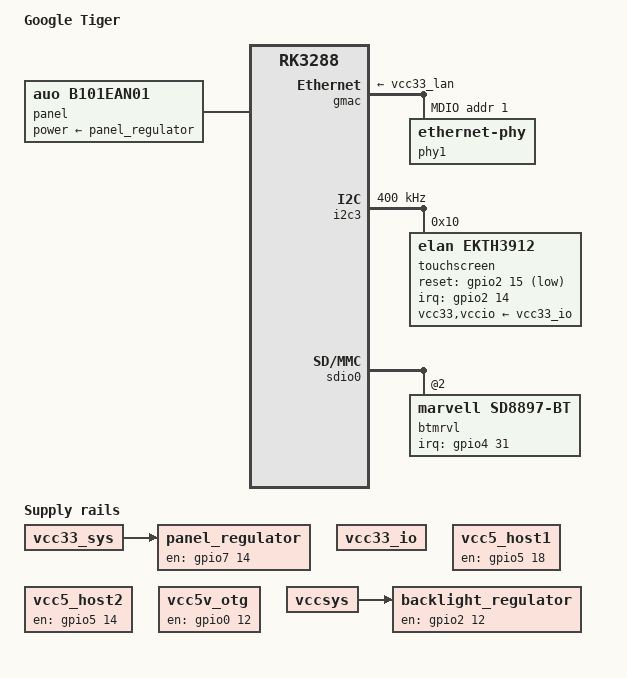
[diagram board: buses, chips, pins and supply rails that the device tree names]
/*
 * Google Veyron Tiger Rev 0+ board device tree source
 *
 * Copyright 2016 Google, Inc
 *
 * This program is free software; you can redistribute it and/or modify
 * it under the terms of the GNU General Public License version 2 as
 * published by the Free Software Foundation.
 */

/dts-v1/;
#include "rk3288-veyron.dtsi"
#include "rk3288-veyron-analog-audio.dtsi"
#include "rk3288-veyron-edp.dtsi"
#include "rk3288-veyron-ethernet.dtsi"
#include "rk3288-veyron-lpddr.dtsi"

/ {
	model = "Google Tiger";
	compatible = "google,veyron-tiger-rev8", "google,veyron-tiger-rev7",
		     "google,veyron-tiger-rev6", "google,veyron-tiger-rev5",
		     "google,veyron-tiger-rev4", "google,veyron-tiger-rev3",
		     "google,veyron-tiger-rev2", "google,veyron-tiger-rev1",
		     "google,veyron-tiger-rev0", "google,veyron-tiger",
		     "google,veyron", "rockchip,rk3288";

	backlight_regulator: backlight-regulator {
		compatible = "regulator-fixed";
		enable-active-high;
		gpio = <&gpio2 12 GPIO_ACTIVE_HIGH>;
		pinctrl-names = "default";
		pinctrl-0 = <&bl_pwr_en>;
		regulator-name = "backlight_regulator";
		vin-supply = <&vccsys>;
		startup-delay-us = <15000>;
	};

	panel_regulator: panel-regulator {
		compatible = "regulator-fixed";
		enable-active-high;
		gpio = <&gpio7 14 GPIO_ACTIVE_HIGH>;
		pinctrl-names = "default";
		pinctrl-0 = <&lcd_enable_h>;
		regulator-name = "panel_regulator";
		vin-supply = <&vcc33_sys>;
	};

	/* vcc33_pmuio and vcc33_io is sourced directly from vcc33_sys,
	 * enabled by vcc_18 */
	vcc33_io: vcc33-io {
		compatible = "regulator-fixed";
		regulator-always-on;
		regulator-boot-on;
		regulator-name = "vcc33_io";
	};

	vcc5_host1: vcc5-host1-regulator {
		compatible = "regulator-fixed";
		enable-active-high;
		gpio = <&gpio5 18 GPIO_ACTIVE_HIGH>;
		pinctrl-names = "default";
		pinctrl-0 = <&hub_usb1_pwr_en>;
		regulator-name = "vcc5_host1";
		regulator-always-on;
		regulator-boot-on;
	};

	vcc5_host2: vcc5-host2-regulator {
		compatible = "regulator-fixed";
		enable-active-high;
		gpio = <&gpio5 14 GPIO_ACTIVE_HIGH>;
		pinctrl-names = "default";
		pinctrl-0 = <&hub_usb2_pwr_en>;
		regulator-name = "vcc5_host2";
		regulator-always-on;
		regulator-boot-on;
	};

	vcc5v_otg: vcc5v-otg-regulator {
		compatible = "regulator-fixed";
		enable-active-high;
		gpio = <&gpio0 12 GPIO_ACTIVE_HIGH>;
		pinctrl-names = "default";
		pinctrl-0 = <&usb_otg_pwr_en>;
		regulator-name = "vcc5_otg";
		regulator-always-on;
		regulator-boot-on;
	};

	vccsys: vccsys {
		compatible = "regulator-fixed";
		regulator-name = "vccsys";
		regulator-boot-on;
		regulator-always-on;
	};
};

&backlight {
	/* Tiger panel PWM must be >= 1%, so start non-zero brightness at 3 */
	brightness-levels = <
			  0   3   4   5   6   7
			  8   9  10  11  12  13  14  15
			 16  17  18  19  20  21  22  23
			 24  25  26  27  28  29  30  31
			 32  33  34  35  36  37  38  39
			 40  41  42  43  44  45  46  47
			 48  49  50  51  52  53  54  55
			 56  57  58  59  60  61  62  63
			 64  65  66  67  68  69  70  71
			 72  73  74  75  76  77  78  79
			 80  81  82  83  84  85  86  87
			 88  89  90  91  92  93  94  95
			 96  97  98  99 100 101 102 103
			104 105 106 107 108 109 110 111
			112 113 114 115 116 117 118 119
			120 121 122 123 124 125 126 127
			128 129 130 131 132 133 134 135
			136 137 138 139 140 141 142 143
			144 145 146 147 148 149 150 151
			152 153 154 155 156 157 158 159
			160 161 162 163 164 165 166 167
			168 169 170 171 172 173 174 175
			176 177 178 179 180 181 182 183
			184 185 186 187 188 189 190 191
			192 193 194 195 196 197 198 199
			200 201 202 203 204 205 206 207
			208 209 210 211 212 213 214 215
			216 217 218 219 220 221 222 223
			224 225 226 227 228 229 230 231
			232 233 234 235 236 237 238 239
			240 241 242 243 244 245 246 247
			248 249 250 251 252 253 254 255>;
	power-supply = <&backlight_regulator>;
};

&dmc {
	status = "disabled";
};

&edp {
	pinctrl-names = "default";
	pinctrl-0 = <&edp_hpd>;
};

&gmac {
	phy-supply = <&vcc33_lan>;
	wakeup-source;
	mdio0 {
		#address-cells = <1>;
		#size-cells = <0>;
		compatible = "snps,dwmac-mdio";
		phy1: ethernet-phy@1 {
			reg = <1>;
			enable-phy-ssc;
		};
	};
};

&gpio_keys {
	pinctrl-0 = <&pwr_key_l>;

	/* let btmrvl handle bt wake */
	/delete-node/ bt-wake;
};

&i2c3 {
	status = "okay";

	clock-frequency = <400000>;
	i2c-scl-falling-time-ns = <50>;
	i2c-scl-rising-time-ns = <300>;

	touchscreen@10 {
		compatible = "elan,ekth3912", "elan,ekth3500";
		reg = <0x10>;
		pinctrl-names = "default";
		pinctrl-0 = <&touch_int &touch_rst>;
		interrupt-parent = <&gpio2>;
		interrupts = <14 IRQ_TYPE_EDGE_FALLING>;
		reset-gpios = <&gpio2 15 GPIO_ACTIVE_LOW>;
		vcc33-supply = <&vcc33_io>;
		vccio-supply = <&vcc33_io>;
		wakeup-source;
	};
};

&panel {
	compatible = "auo,b101ean01", "simple-panel";
	power-supply= <&panel_regulator>;
};

&rk808 {
	pinctrl-names = "default";
	pinctrl-0 = <&pmic_int_l &dvs_1 &dvs_2>;
	dvs-gpios = <&gpio7 12 GPIO_ACTIVE_HIGH>,
		    <&gpio7 15 GPIO_ACTIVE_HIGH>;

	vcc6-supply = <&vcc33_sys>;
	vcc10-supply = <&vcc33_sys>;
	vcc11-supply = <&vcc_5v>;
	vcc12-supply = <&vcc33_sys>;

	regulators {
		/delete-node/ LDO_REG1;

		vcc18_lcdt: LDO_REG2 {
			regulator-always-on;
			regulator-boot-on;
			regulator-min-microvolt = <1800000>;
			regulator-max-microvolt = <1800000>;
			regulator-name = "vdd18_lcdt";
			regulator-suspend-mem-disabled;
		};

		/* This is not a pwren anymore, but the real power supply */
		vdd10_lcd: LDO_REG7 {
			regulator-always-on;
			regulator-boot-on;
			regulator-min-microvolt = <1000000>;
			regulator-max-microvolt = <1000000>;
			regulator-name = "vdd10_lcd";
			regulator-suspend-mem-disabled;
		};

		/* for usb camera */
		vcc33_ccd: LDO_REG8 {
			regulator-always-on;
			regulator-boot-on;
			regulator-min-microvolt = <3300000>;
			regulator-max-microvolt = <3300000>;
			regulator-name = "vcc33_ccd";
			regulator-suspend-mem-disabled;
		};

		vcc33_lan: SWITCH_REG2 {
			regulator-name = "vcc33_lan";
		};
	};
};

&sdio0 {
	#address-cells = <1>;
	#size-cells = <0>;

	btmrvl: btmrvl@2 {
		compatible = "marvell,sd8897-bt";
		reg = <2>;
		interrupt-parent = <&gpio4>;
		interrupts = <31 IRQ_TYPE_LEVEL_LOW>;
		marvell,wakeup-pin = /bits/ 16 <13>;
		pinctrl-names = "default";
		pinctrl-0 = <&bt_host_wake_l>;
	};
};

&vcc50_hdmi {
	enable-active-high;
	gpio = <&gpio5 19 GPIO_ACTIVE_HIGH>;
	pinctrl-names = "default";
	pinctrl-0 = <&vcc50_hdmi_en>;
};

&vcc_5v {
	enable-active-high;
	gpio = <&gpio7 21 GPIO_ACTIVE_HIGH>;
	pinctrl-names = "default";
	pinctrl-0 = <&drv_5v>;
};

&pinctrl {
	pinctrl-names = "default", "sleep";
	pinctrl-0 = <
		/* Common for sleep and wake, but no owners */
		&ddr0_retention
		&ddrio_pwroff
		&global_pwroff

		/* For usb bc1.2 */
		&usb_otg_ilim_sel
		&usb_usb_ilim_sel

		/* Wake only */
		&bt_dev_wake_awake
		&pwr_led1_on
	>;
	pinctrl-1 = <
		/* Common for sleep and wake, but no owners */
		&ddr0_retention
		&ddrio_pwroff
		&global_pwroff

		/* Sleep only */
		&bt_dev_wake_sleep
		&pwr_led1_blink
	>;

	backlight {
		bl_pwr_en: bl_pwr_en {
			rockchip,pins = <2 12 RK_FUNC_GPIO &pcfg_pull_none>;
		};
	};

	buck-5v {
		drv_5v: drv-5v {
			rockchip,pins = <7 21 RK_FUNC_GPIO &pcfg_pull_none>;
		};
	};

	edp {
		edp_hpd: edp-hpd {
			rockchip,pins = <7 11 RK_FUNC_2 &pcfg_pull_down>;
		};
	};

	hdmi {
		vcc50_hdmi_en: vcc50-hdmi-en {
			rockchip,pins = <5 19 RK_FUNC_GPIO &pcfg_pull_none>;
		};
	};

	lcd {
		lcd_enable_h: lcd-en {
			rockchip,pins = <7 14 RK_FUNC_GPIO &pcfg_pull_none>;
		};
	};

	leds {
		pwr_led1_on: pwr-led1-on {
			rockchip,pins = <7 3 RK_FUNC_GPIO &pcfg_output_low>;
		};

		pwr_led1_blink: pwr-led1-blink {
			rockchip,pins = <7 3 RK_FUNC_GPIO &pcfg_output_high>;
		};
	};

	pmic {
		dvs_1: dvs-1 {
			rockchip,pins = <7 12 RK_FUNC_GPIO &pcfg_pull_down>;
		};

		dvs_2: dvs-2 {
			rockchip,pins = <7 15 RK_FUNC_GPIO &pcfg_pull_down>;
		};
	};

	touchscreen {
		touch_int: touch-int {
			rockchip,pins = <2 14 RK_FUNC_GPIO &pcfg_pull_none>;
		};

		touch_rst: touch-rst {
			rockchip,pins = <2 15 RK_FUNC_GPIO &pcfg_pull_none>;
		};
	};

	usb-bc12 {
		usb_otg_ilim_sel: usb-otg-ilim-sel {
			rockchip,pins = <6 17 RK_FUNC_GPIO &pcfg_output_low>;
		};

		usb_usb_ilim_sel: usb-usb-ilim-sel {
			rockchip,pins = <5 15 RK_FUNC_GPIO &pcfg_output_low>;
		};
	};

	usb-host {
		hub_usb1_pwr_en: hub_usb1_pwr_en {
			rockchip,pins = <5 18 RK_FUNC_GPIO &pcfg_pull_none>;
		};

		hub_usb2_pwr_en: hub_usb2_pwr_en {
			rockchip,pins = <5 14 RK_FUNC_GPIO &pcfg_pull_none>;
		};

		usb_otg_pwr_en: usb_otg_pwr_en {
			rockchip,pins = <0 12 RK_FUNC_GPIO &pcfg_pull_none>;
		};
	};
};
